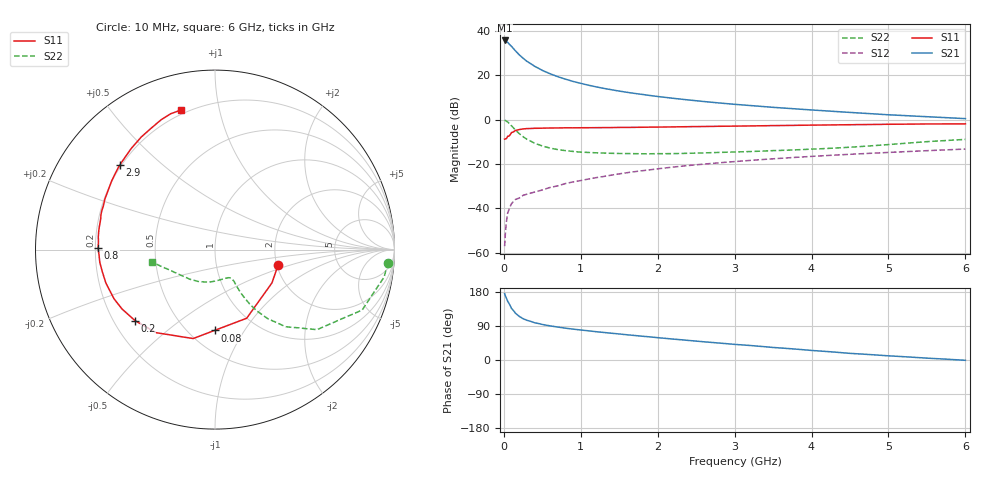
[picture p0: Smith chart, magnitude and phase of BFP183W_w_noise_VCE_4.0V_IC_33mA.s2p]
! Infineon Technologies  Discrete & RF Semiconductors
! BFP183W
! VCE =  4.0 V,  IC =  33 mA
! Common Emitter S-Parameters:  Jan 2017
# GHz  S  MA  R  50
!  f  S11  S21  S12  S22
! GHz  MAG  ANG  MAG  ANG  MAG  ANG  MAG  ANG
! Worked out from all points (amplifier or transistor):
!   77 points, 10 MHz to 6 GHz, reference 50 ohm
!   highest |S21| = 35.7 dB at 10 MHz (marker M1)
!   |S21| within 3 dB of that: start of sweep to 108.2 MHz
!   unconditionally stable (mu >= 1): 884.6 MHz to 3.408 GHz
!   at 130 MHz: K = 0.33, MSG = 34.3 dB, |S12| = -36.8 dB
!   at 2.2 GHz: K = 1.06, MAG = 14.0 dB, |S12| = -21.4 dB
!   at 6 GHz: K = 0.87, MSG = 6.9 dB, |S12| = -13.3 dB
!   lowest NFmin = 1.47 dB at 450 MHz
!   S11 on the Smith chart (normalised r, x): 10 MHz: 2.02, -0.41; 80 MHz: 0.66, -0.75; 200 MHz: 0.29, -0.35; 800 MHz: 0.21, +0.01; 2.9 GHz: 0.19, +0.37; 6 GHz: 0.18, +0.77
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0.01  0.3617 -14.1  60.72 175.2  0.0014 89.5  0.9656 -4.3
0.02  0.3676 -30.2  59.7 169.3  0.0027 83.5  0.9549 -9.2
0.05  0.4212 -65.2  55.02 154.8  0.0078 71.3  0.8865 -22.3
0.08  0.4503 -90.3  48.11 144.4  0.0107 62.7  0.7808 -31.0
0.1  0.5104 -103.8  44.6 135.9  0.0127 59.2  0.7226 -38.1
0.15  0.5672 -125.3  35.54 123.6  0.0158 51.8  0.5828 -47.5
0.2  0.596 -138.4  28.87 115.1  0.017 49.2  0.4827 -52.7
0.25  0.6147 -147.5  24.11 109.1  0.0196 48.3  0.4114 -55.8
0.3  0.6258 -154.0  20.56 104.7  0.0208 49.2  0.3595 -57.5
0.4  0.6359 -163.0  15.88 98.3  0.0232 50.7  0.2931 -59.0
0.5  0.6401 -169.1  12.84 93.8  0.0259 53.3  0.2537 -59.4
0.6  0.6458 -173.7  10.8 90.1  0.0295 55.0  0.2278 -59.4
0.7  0.6469 -177.5  9.28 87.0  0.032 58.1  0.2105 -59.0
0.8  0.6514 179.2  8.153 84.0  0.0361 60.0  0.1996 -59.3
1.1  0.6558 171.2  5.959 77.0  0.0457 62.2  0.1815 -61.0
1.5  0.6649 162.8  4.386 68.7  0.0597 63.1  0.1719 -66.1
2.1  0.6799 151.4  3.163 57.1  0.0812 62.2  0.1704 -79.0
2.9  0.7087 138.5  2.285 43.0  0.1095 58.3  0.1837 -100.8
3.1  0.7152 135.5  2.14 39.8  0.1164 57.2  0.1879 -106.3
4.1  0.7524 122.0  1.605 23.8  0.1512 51.1  0.2192 -132.7
5.1  0.7856 111.6  1.257 9.9  0.1849 44.7  0.2815 -156.7
6  0.8004 103.7  1.05 -0.8  0.2164 38.4  0.3575 -169.0
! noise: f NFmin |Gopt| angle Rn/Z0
0.45  1.47  0.28  -179  0.1
0.9  1.51  0.31  -177  0.1
1.9  2  0.46  -156  0.11
2.4  2.24  0.51  -151  0.16
